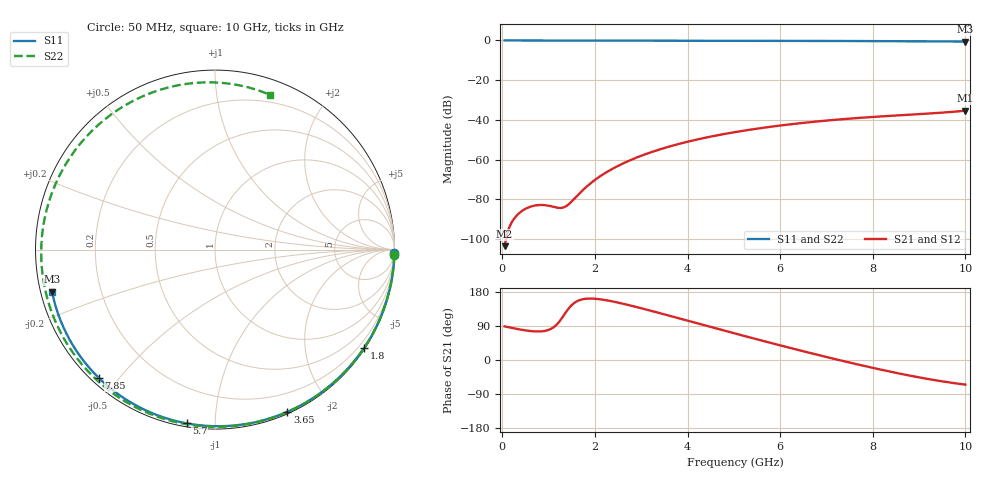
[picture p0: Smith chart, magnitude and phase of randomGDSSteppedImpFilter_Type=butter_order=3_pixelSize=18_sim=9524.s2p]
! freq	dB(S11)	phase(S11)	dB(S12)	phase(S12)
!  dB(S21)	phase(S21)	dB(S22)	phase(S22)
!S-par simulation data
#  GHz  S  DB  R 50
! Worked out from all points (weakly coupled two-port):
!   200 points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, 50 MHz to 10 GHz, reference 50 ohm
!   highest |S21| = -35.35 dB at 10 GHz (marker M1); lowest = -103.6 dB at 50 MHz (marker M2)
!   lowest |S11| = -0.6 dB at 10 GHz (marker M3), VSWR 31.14, Z = 1.63 - j6.34 ohm
!   |S11| at or under -10 dB: nowhere
!   |S22| runs from -0.8 to 0.0 dB; largest |S21 - S12| = 0
!   S11 on the Smith chart (normalised r, x): 50 MHz: open; 1.8 GHz: 0.03, -3.33; 3.65 GHz: 0.02, -1.54; 5.7 GHz: 0.02, -0.85; 7.85 GHz: 0.02, -0.44; 10 GHz: 0.03, -0.13
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0.05  -0.00 -1.0  -103.56 88.7  -103.56 88.7  -0.00 -1.8
0.75  -0.02 -14.1  -82.95 75.2  -82.95 75.2  -0.03 -26.0
1.5  -0.04 -27.9  -81.03 145.0  -81.03 145.0  -0.06 -51.0
1.55  -0.04 -28.9  -79.83 150.2  -79.83 150.2  -0.07 -52.7
1.75  -0.04 -32.5  -75.10 160.6  -75.10 160.6  -0.07 -59.1
1.8  -0.04 -33.4  -74.03 161.5  -74.03 161.5  -0.08 -60.7
2.1  -0.05 -38.8  -68.57 160.4  -68.57 160.4  -0.09 -70.1
2.45  -0.06 -45.1  -63.73 152.8  -63.73 152.8  -0.10 -80.8
2.9  -0.07 -53.0  -58.95 139.7  -58.95 139.7  -0.11 -94.1
3.4  -0.08 -61.7  -54.84 123.7  -54.84 123.7  -0.13 -108.2
3.65  -0.09 -65.9  -53.12 115.5  -53.12 115.5  -0.14 -115.1
4.35  -0.11 -77.6  -49.13 92.2  -49.13 92.2  -0.17 -133.7
5.05  -0.14 -89.0  -46.04 69.1  -46.04 69.1  -0.21 -151.7
5.7  -0.17 -99.3  -43.75 48.1  -43.75 48.1  -0.25 -168.1
6.2  -0.19 -107.1  -42.27 32.3  -42.27 32.3  -0.28 179.3
6.7  -0.23 -114.7  -41.00 16.9  -41.00 16.9  -0.32 166.5
7.25  -0.26 -123.1  -39.82 0.5  -39.82 0.5  -0.37 152.2
7.85  -0.31 -132.2  -38.75 -16.6  -38.75 -16.6  -0.42 136.0
8.35  -0.36 -139.8  -37.99 -30.0  -37.99 -30.0  -0.47 121.9
9.2  -0.46 -152.9  -36.81 -50.2  -36.81 -50.2  -0.58 96.4
9.6  -0.50 -159.1  -36.17 -58.2  -36.17 -58.2  -0.66 83.6
10  -0.56 -165.5  -35.35 -65.0  -35.35 -65.0  -0.77 70.2
